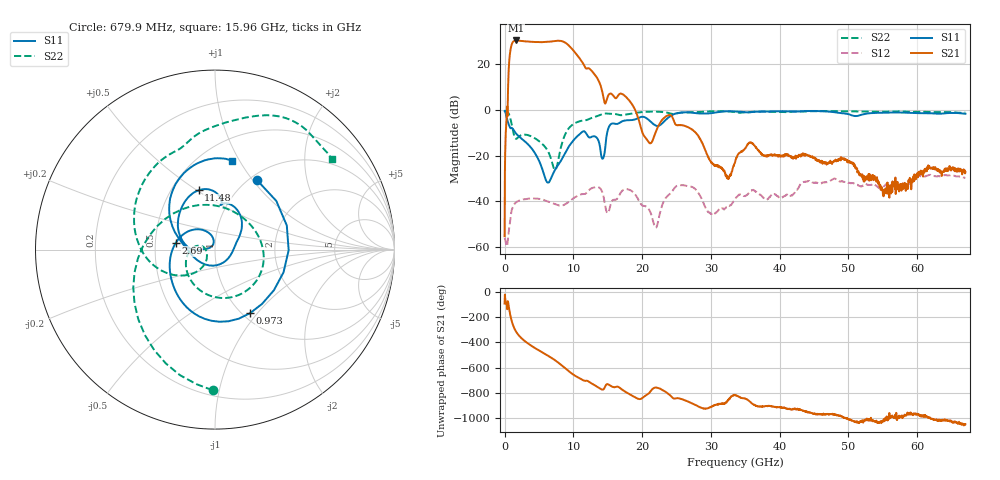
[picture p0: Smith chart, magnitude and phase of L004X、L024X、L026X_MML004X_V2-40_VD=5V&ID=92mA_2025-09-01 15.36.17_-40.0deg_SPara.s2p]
!Keysight Technologies,N5247B,MY63057157,A.17.10.07
!Date: Monday, September 01, 2025 15:43:15
!Correction: S11(C  2-Port  )
!S21(C  2-Port  )
!S12(C  2-Port  )
!S22(C  2-Port  )
!S2P File: Measurements: S11, S21, S12, S22:
# Hz S  dB  R 50
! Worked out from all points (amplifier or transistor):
!   1601 points, 10 MHz to 67 GHz, reference 50 ohm
!   highest |S21| = 30.4 dB at 1.685 GHz (marker M1)
!   |S21| within 3 dB of that: 936.7 MHz to 9.596 GHz (8.66 GHz wide, 164 % of centre)
!   unconditionally stable (mu >= 1): start of sweep to end of sweep
!   at 11.15 GHz: K = 1.91, MAG = 23.7 dB, |S12| = -36.9 dB
!   at 33.51 GHz: K = 16.81, MAG = -7.2 dB, |S12| = -39.1 dB
!   at 67 GHz: K = 25.05, MAG = -15.7 dB, |S12| = -29.7 dB
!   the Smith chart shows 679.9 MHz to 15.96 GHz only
!   S11 on the Smith chart (normalised r, x): 679.9 MHz: 1.08, +1.05; 973 MHz: 1.08, -0.92; 2.69 GHz: 0.64, +0.05; 11.48 GHz: 0.68, +0.51; 15.96 GHz: 0.70, +0.93
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1e7  -0.45 -26.8  -55.25 -91.9  -56.02 -38.1  -0.28 -12.3
6.799e8  -6.89 59.0  21.37 -137.3  -51.34 -134.9  -2.12 -91.0
9.729812e8  -7.86 -61.2  27.94 144.1  -44.94 158.7  -5.36 -146.3
1.307931e9  -8.73 -112.2  30.08 86.0  -41.70 115.8  -10.26 138.9
1.68475e9  -10.33 -140.4  30.45 44.8  -40.37 85.2  -12.58 60.1
2.103438e9  -11.59 -163.2  30.34 13.8  -39.70 64.3  -11.63 5.8
2.6896e9  -13.08 170.5  30.15 -18.0  -39.13 45.6  -10.81 -34.2
3.652581e9  -15.77 136.8  29.88 -57.7  -38.71 24.4  -11.22 -79.2
4.6993e9  -20.31 109.3  29.77 -93.8  -38.76 7.0  -12.92 -122.2
5.913494e9  -29.92 107.5  29.76 -132.8  -39.64 -9.0  -16.23 -170.2
7.211425e9  -26.87 173.6  30.17 -176.3  -41.03 -16.1  -25.81 -178.5
8.006931e9  -23.10 178.8  30.28 151.8  -41.87 -11.7  -18.92 -125.6
8.928044e9  -18.17 -179.7  29.30 109.7  -41.02 -4.8  -9.95 -158.1
9.932894e9  -13.58 158.6  26.35 67.5  -38.84 -6.2  -6.34 159.4
1.118896e10  -9.83 119.2  21.48 26.3  -36.84 -20.7  -4.72 121.1
1.148204e10  -9.29 105.5  20.04 18.5  -36.82 -24.2  -4.60 114.4
1.596199e10  -5.93 79.0  5.68 -35.7  -39.27 -58.3  -1.70 37.6
2.236791e10  -6.94 -3.9  -6.92 -41.6  -48.25 35.9  -0.75 -19.8
3.3505e10  -0.66 -84.0  -22.98 -97.9  -39.15 -119.0  -0.92 -78.4
4.468396e10  -0.41 -130.0  -20.36 119.8  -31.56 165.9  -0.54 -114.3
5.586291e10  -1.14 -157.2  -32.93 74.2  -32.11 112.8  -0.69 -149.1
6.7e10  -1.64 173.7  -27.14 30.8  -29.73 45.1  -1.13 175.6
